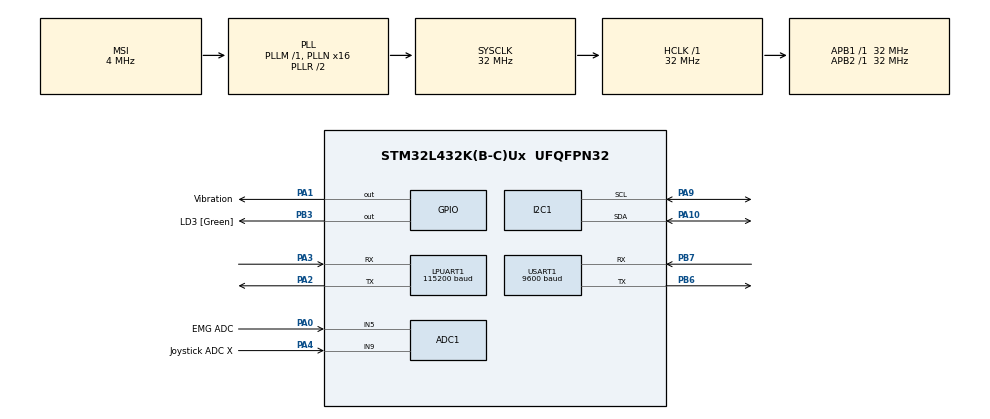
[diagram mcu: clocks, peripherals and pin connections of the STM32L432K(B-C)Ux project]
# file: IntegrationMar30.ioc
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ADC1.Channel-0\#ChannelRegularConversion=ADC_CHANNEL_5
ADC1.Channel-1\#ChannelRegularConversion=ADC_CHANNEL_9
ADC1.ClockPrescaler=ADC_CLOCK_ASYNC_DIV32
ADC1.ContinuousConvMode=DISABLE
ADC1.DMAContinuousRequests=ENABLE
ADC1.EnableInjectedConversion=DISABLE
ADC1.ExternalTrigConv=ADC_EXTERNALTRIG_T2_TRGO
ADC1.NbrOfConversion=2
ADC1.NbrOfConversionFlag=1
ADC1.OffsetNumber-0\#ChannelRegularConversion=ADC_OFFSET_NONE
ADC1.OffsetNumber-1\#ChannelRegularConversion=ADC_OFFSET_NONE
ADC1.Rank-0\#ChannelRegularConversion=1
ADC1.Rank-1\#ChannelRegularConversion=2
ADC1.SamplingTime-0\#ChannelRegularConversion=ADC_SAMPLETIME_640CYCLES_5
ADC1.SamplingTime-1\#ChannelRegularConversion=ADC_SAMPLETIME_640CYCLES_5
ADC1.master=1
Dma.ADC1.0.Direction=DMA_PERIPH_TO_MEMORY
Dma.ADC1.0.Instance=DMA1_Channel1
Dma.ADC1.0.MemDataAlignment=DMA_MDATAALIGN_HALFWORD
Dma.ADC1.0.MemInc=DMA_MINC_ENABLE
Dma.ADC1.0.Mode=DMA_CIRCULAR
Dma.ADC1.0.PeriphDataAlignment=DMA_PDATAALIGN_HALFWORD
Dma.ADC1.0.PeriphInc=DMA_PINC_DISABLE
Dma.ADC1.0.Priority=DMA_PRIORITY_LOW
Dma.Request0=ADC1
I2C1.Timing=0x00B07CB4
LPUART1.BaudRate=115200
LPUART1.WordLength=UART_WORDLENGTH_8B
Mcu.Family=STM32L4
Mcu.Name=STM32L432K(B-C)Ux
Mcu.Package=UFQFPN32
NVIC.DMA1_Channel1_IRQn=true\:0\:0\:false\:false\:true\:false\:true\:true
NVIC.PriorityGroup=NVIC_PRIORITYGROUP_4
NVIC.TIM6_DAC_IRQn=true\:0\:0\:false\:false\:true\:true\:true\:true
NVIC.USART1_IRQn=true\:0\:0\:false\:false\:true\:true\:true\:true
PA0.GPIO_Label=EMG ADC
PA0.Signal=ADCx_IN5
PA1.GPIO_Label=Vibration
PA1.Signal=GPIO_Output
PA10.Mode=I2C
PA10.Signal=I2C1_SDA
PA13\ (JTMS-SWDIO).GPIO_Label=SWDIO
PA13\ (JTMS-SWDIO).Signal=SYS_JTMS-SWDIO
PA14\ (JTCK-SWCLK).GPIO_Label=SWCLK
PA14\ (JTCK-SWCLK).Signal=SYS_JTCK-SWCLK
PA15\ (JTDI).GPIO_Label=VCP_RX
PA15\ (JTDI).Signal=USART2_RX
PA2.Mode=Asynchronous
PA2.Signal=LPUART1_TX
PA3.Mode=Asynchronous
PA3.Signal=LPUART1_RX
PA4.GPIO_Label=Joystick ADC X
PA4.Signal=ADCx_IN9
PA9.Mode=I2C
PA9.Signal=I2C1_SCL
PB3\ (JTDO-TRACESWO).GPIO_Label=LD3 [Green]
PB3\ (JTDO-TRACESWO).Signal=GPIO_Output
PB6.Mode=Asynchronous
PB6.Signal=USART1_TX
PB7.Mode=Asynchronous
PB7.Signal=USART1_RX
PC14-OSC32_IN\ (PC14).Signal=RCC_OSC32_IN
PC15-OSC32_OUT\ (PC15).Signal=RCC_OSC32_OUT
ProjectManager.HeapSize=0x200
ProjectManager.StackSize=0x400
ProjectManager.TargetToolchain=STM32CubeIDE
RCC.ADCFreq_Value=32000000
RCC.AHBFreq_Value=32000000
RCC.APB1Freq_Value=32000000
RCC.APB1TimFreq_Value=32000000
RCC.APB2Freq_Value=32000000
RCC.APB2TimFreq_Value=32000000
RCC.CortexFreq_Value=32000000
RCC.HCLKFreq_Value=32000000
RCC.HSE_VALUE=8000000
RCC.HSI16_VALUE=16000000
RCC.HSI48_VALUE=48000000
RCC.HSI_VALUE=16000000
RCC.LSE_VALUE=32768
RCC.MSI_VALUE=4000000
RCC.PLLMUL=RCC_PLLMUL_4
RCC.PLLN=16
RCC.PLLSAI1N=16
RCC.SYSCLKFreq_VALUE=32000000
RCC.SYSCLKSource=RCC_SYSCLKSOURCE_PLLCLK
RCC.USBFreq_Value=32000000
RCC.VCOOutputFreq_Value=64000000
SH.ADCx_IN5.0=ADC1_IN5,IN5-Single-Ended
SH.ADCx_IN9.0=ADC1_IN9,IN9-Single-Ended
TIM2.Period=999
TIM2.Prescaler=71
TIM2.TIM_MasterOutputTrigger=TIM_TRGO_UPDATE
TIM6.AutoReloadPreload=TIM_AUTORELOAD_PRELOAD_ENABLE
TIM6.Period=9999
TIM6.Prescaler=31
USART1.BaudRate=9600
USART1.VirtualMode-Asynchronous=VM_ASYNC
VP_TIM2_VS_ClockSourceINT.Mode=Internal
VP_TIM6_VS_ClockSourceINT.Mode=Enable_Timer
board=NUCLEO-L432KC

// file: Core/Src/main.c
/* USER CODE BEGIN Header */
/**
  ******************************************************************************
  * @file           : main.c
  * @brief          : Main program body
  ******************************************************************************
  * @attention
  *
  * Copyright (c) 2026 STMicroelectronics.
  * All rights reserved.
  *
  * This software is licensed under terms that can be found in the LICENSE file
  * in the root directory of this software component.
  * If no LICENSE file comes with this software, it is provided AS-IS.
  *
  ******************************************************************************
  */
/* USER CODE END Header */
#include "main.h"

/* USER CODE BEGIN Includes */
#include "stdio.h"
#include "punch.h"
#include "emg.h"
#include <string.h>
/* USER CODE END Includes */

/* USER CODE BEGIN PTD */
#define DEVICE_ADDR  0b010    // NOTE THIS IS PLACEHOLDER: P2_ARM_ADDR
#define MAINSTM_ADDR 0b100
#define START_BYTE   0xFF
/* USER CODE END PTD */

/* USER CODE BEGIN PD */
#define SAD_W_M   0x32
#define SAD_R_M   0x33
#define OUT_X_L_A 0b10101000
#define MOTOR_W   (0x5A << 1)
#define VIBRATION_DURATION_MS 200 // 200ms (half a second) is usually plenty for a hit!
/* USER CODE END PD */

ADC_HandleTypeDef hadc1;
DMA_HandleTypeDef hdma_adc1;

I2C_HandleTypeDef hi2c1;

UART_HandleTypeDef hlpuart1;
UART_HandleTypeDef huart1;

TIM_HandleTypeDef htim2;
TIM_HandleTypeDef htim6;

/* USER CODE BEGIN PV */
static PunchDetector pd;
static EmgDetector   ed;

uint8_t rx_buf[3]      = {};
uint8_t tx_buf[3]      = {};
uint8_t vibration      = 0;
uint8_t emg_ready      = 0;
uint8_t joystick_ready = 0;
uint8_t imu_ready      = 0;
uint8_t punch          = 0;
uint8_t joystick_val   = 0;
uint8_t emg_val        = 0;
uint32_t vibration_start_time = 0;
uint8_t  is_vibrating = 0;
volatile uint8_t packet_received = 0;
volatile uint8_t uart_tx_busy = 0;
volatile uint8_t tx_done_flag = 0;

static PunchDetector pd;
/* USER CODE END PV */

void SystemClock_Config(void);
static void MX_GPIO_Init(void);
static void MX_DMA_Init(void);
static void MX_ADC1_Init(void);
static void MX_I2C1_Init(void);
static void MX_LPUART1_UART_Init(void);
static void MX_TIM2_Init(void);
static void MX_USART1_UART_Init(void);
static void MX_TIM6_Init(void);

/* USER CODE BEGIN 0 */
uint32_t      joy_raw = 0;
GPIO_PinState jump    = 0;
int p1_move = 0;
int p2_move = 0;

/* USER CODE END 0 */

int main(void)
{

  /* USER CODE BEGIN 1 */
  uint8_t IMU_buf[8]; // [0-5]=XYZ data, [6]=reg addr, [7]=config byte
  IMU_buf[6] = (uint8_t)(OUT_X_L_A);
  /* USER CODE END 1 */

  /* MCU Configuration--------------------------------------------------------*/

  /* Reset of all peripherals, Initializes the Flash interface and the Systick. */
  HAL_Init();

  /* Configure the system clock */
  SystemClock_Config();

  /* Initialize all configured peripherals */
  MX_GPIO_Init();
  MX_DMA_Init();
  MX_ADC1_Init();
  MX_I2C1_Init();
  MX_LPUART1_UART_Init();
  MX_TIM2_Init();
  MX_USART1_UART_Init();
  MX_TIM6_Init();
  /* USER CODE BEGIN 2 */
  HAL_UART_Receive_IT(&huart1, rx_buf, 3);

  uint16_t adc_data[2];

  // ---- IMU init: CTRL_REG1_A — ODR 400 Hz, all axes on ----
  IMU_buf[6] = (uint8_t)(0x20);
  IMU_buf[7] = (uint8_t)(0b10010111);
  HAL_I2C_Master_Transmit(&hi2c1, SAD_W_M, &IMU_buf[6], 2, 1000);
  IMU_buf[6] = (uint8_t)(OUT_X_L_A);

  // ---- Vibration motor init ----
//  uint8_t vib_buf[4]  = {0x01, 0x00, 0x03, 0x01};
//  HAL_I2C_Master_Transmit(&hi2c1, MOTOR_W, vib_buf, 4, 1000);
//  uint8_t vib_buf1[4] = {0x04, 0x0E, 0x05, 0x00};
//  HAL_I2C_Master_Transmit(&hi2c1, MOTOR_W, vib_buf1, 4, 1000);

  // ---- ADC start ----
  HAL_ADCEx_Calibration_Start(&hadc1, ADC_SINGLE_ENDED);
  HAL_ADC_Start_DMA(&hadc1, (uint32_t *)adc_data, 2);
  HAL_TIM_Base_Start(&htim2);

  // ---- Punch detector baseline calibration (64 samples, hold still) ----
  printf("Calibrating IMU... hold still\r\n");
  {
      int32_t sx = 0, sy = 0, sz = 0;
      for (int i = 0; i < 64; i++) {
          HAL_I2C_Master_Transmit(&hi2c1, SAD_W_M, &IMU_buf[6], 1, 1000);
          HAL_I2C_Master_Receive (&hi2c1, SAD_R_M,  IMU_buf, 6, 1000);
          sx += (int16_t)((IMU_buf[1] << 8) | IMU_buf[0]);
          sy += (int16_t)((IMU_buf[3] << 8) | IMU_buf[2]);
          sz += (int16_t)((IMU_buf[5] << 8) | IMU_buf[4]);
          HAL_Delay(10);
      }
      float bx = ((float)sx / 64.0f) / IMU_SCALE;
      float by = ((float)sy / 64.0f) / IMU_SCALE;
      float bz = ((float)sz / 64.0f) / IMU_SCALE;
      printf("Baseline: %.3f  %.3f  %.3f g\r\n", bx, by, bz);
      punch_init(&pd, bx, by, bz);
  }

  emg_init(&ed);

  printf("Ready!\r\n");
  /* USER CODE END 2 */

  /* Infinite loop */
  while (1)
  {

    /* USER CODE BEGIN 3 */

	// XBee
	if(tx_done_flag){
		tx_done_flag = 0;
		//printf("P1_arm transmit complete\n");
	}

	if(packet_received){
		//printf("Receieved packet");
	    //this is for arm - legs don't need vibration
	    uint8_t local_copy[3];

	    __disable_irq();
	    memcpy(local_copy, rx_buf, 3);
	    packet_received = 0;
	    __enable_irq();

	    vibration = local_copy[2];

	    tx_buf[0] = START_BYTE;
	    //note this code is specialized for arm
	    tx_buf[1] = DEVICE_ADDR | (MAINSTM_ADDR << 3) | (punch << 6);
	    tx_buf[2] = joystick_val | (emg_val << 2);

	    if(!uart_tx_busy){
	    	//printf("P1_arm try to transmit");
	        uart_tx_busy = 1;
	        HAL_UART_Transmit_IT(&huart1, tx_buf, 3);
	        punch = 0;
	    }
	}

    emg_ready = 1;
    uint16_t curr_EMG  = adc_data[0];
    uint16_t curr_joyX = adc_data[1];
    uint32_t now = HAL_GetTick();
    //end of xbee stuff

    printf("EMG: %d  JoyX: %d\r\n", curr_EMG, curr_joyX);

    // emg_update runs state machine with miss counter — filters out brief dropouts
	// before setting the charging flag (see EMG_MISS_LIMIT in emg.h to tune tolerance)
	EmgResult emg_res = emg_update(&ed, curr_EMG, now);
	emg_val = (ed.state != EMG_STATE_IDLE) ? 1 : 0;

    // ---- Vibration ----
    //uint8_t vib_buf2[2] = {0x0C, 0x01};
    if (vibration) {
//        HAL_I2C_Master_Transmit(&hi2c1, MOTOR_W, vib_buf2, 2, 1000);
//        vibration = 0;
        HAL_GPIO_WritePin(GPIOA, GPIO_PIN_1, GPIO_PIN_SET); // Turn motor ON
		vibration_start_time = HAL_GetTick();               // Record the time
		is_vibrating = 1;
		vibration = 0;                                 // Clear the hit flag
    }

    // Check if it's time to turn the motor off
    if (is_vibrating && ((HAL_GetTick() - vibration_start_time) >= VIBRATION_DURATION_MS)) {
        HAL_GPIO_WritePin(GPIOA, GPIO_PIN_1, GPIO_PIN_RESET); // Turn motor OFF
        is_vibrating = 0;
    }

    // ---- IMU read ----
    HAL_I2C_Master_Transmit(&hi2c1, SAD_W_M, &IMU_buf[6], 1, 1000);
    HAL_I2C_Master_Receive (&hi2c1, SAD_R_M,  IMU_buf, 6, 1000);

    int16_t x = (int16_t)((IMU_buf[1] << 8) | IMU_buf[0]);
    int16_t y = (int16_t)((IMU_buf[3] << 8) | IMU_buf[2]);
    int16_t z = (int16_t)((IMU_buf[5] << 8) | IMU_buf[4]);

    printf("x=%d y=%d z=%d raw\r\n", x, y, z);

    // ---- Punch detection ----
    PunchResult res = punch_update(&pd, x, y, z, now);
    if (res.valid) {
        punch = 1;
        printf(">>> PUNCH! dmg=%.1f  peak=%.2fg\r\n", res.damage, res.peak_mag);
        emg_on_punch(&ed);   // reset charge after punch consumes it
    }
    imu_ready = 1;

    // ---- Joystick ----
    joy_raw = curr_joyX;
    //jump    = HAL_GPIO_ReadPin(GPIOA, GPIO_PIN_5);
    if      (joy_raw > 3000) { p1_move =  1; joystick_val = 1; }
    else if (joy_raw < 1925) { p1_move =  2; joystick_val = 2; }
    else                     { p1_move =  0; joystick_val = 0; }
    joystick_ready = 1;

    // ---- XBee TX ----
    /*
    if (emg_ready & joystick_ready & imu_ready) {
        tx_buf[0] = START_BYTE;
        tx_buf[1] = DEVICE_ADDR | (MAINSTM_ADDR << 3) | (punch << 6);
        tx_buf[2] = joystick_val | (emg_val << 2);
        HAL_UART_Transmit_IT(&huart1, tx_buf, 3);
        punch = 0;
    }
    */

    HAL_Delay(10);   // ~100 Hz loop rate
  }
  /* USER CODE END 3 */
}

void SystemClock_Config(void)
{
  RCC_OscInitTypeDef RCC_OscInitStruct = {0};
  RCC_ClkInitTypeDef RCC_ClkInitStruct = {0};

  /** Configure the main internal regulator output voltage
  */
  if (HAL_PWREx_ControlVoltageScaling(PWR_REGULATOR_VOLTAGE_SCALE1) != HAL_OK)
  {
    Error_Handler();
  }

  /** Initializes the RCC Oscillators according to the specified parameters
  * in the RCC_OscInitTypeDef structure.
  */
  RCC_OscInitStruct.OscillatorType = RCC_OSCILLATORTYPE_MSI;
  RCC_OscInitStruct.MSIState = RCC_MSI_ON;
  RCC_OscInitStruct.MSICalibrationValue = 0;
  RCC_OscInitStruct.MSIClockRange = RCC_MSIRANGE_6;
  RCC_OscInitStruct.PLL.PLLState = RCC_PLL_ON;
  RCC_OscInitStruct.PLL.PLLSource = RCC_PLLSOURCE_MSI;
  RCC_OscInitStruct.PLL.PLLM = 1;
  RCC_OscInitStruct.PLL.PLLN = 16;
  RCC_OscInitStruct.PLL.PLLP = RCC_PLLP_DIV7;
  RCC_OscInitStruct.PLL.PLLQ = RCC_PLLQ_DIV2;
  RCC_OscInitStruct.PLL.PLLR = RCC_PLLR_DIV2;
  if (HAL_RCC_OscConfig(&RCC_OscInitStruct) != HAL_OK)
  {
    Error_Handler();
  }

  /** Initializes the CPU, AHB and APB buses clocks
  */
  RCC_ClkInitStruct.ClockType = RCC_CLOCKTYPE_HCLK|RCC_CLOCKTYPE_SYSCLK
                              |RCC_CLOCKTYPE_PCLK1|RCC_CLOCKTYPE_PCLK2;
  RCC_ClkInitStruct.SYSCLKSource = RCC_SYSCLKSOURCE_PLLCLK;
  RCC_ClkInitStruct.AHBCLKDivider = RCC_SYSCLK_DIV1;
  RCC_ClkInitStruct.APB1CLKDivider = RCC_HCLK_DIV1;
  RCC_ClkInitStruct.APB2CLKDivider = RCC_HCLK_DIV1;

  if (HAL_RCC_ClockConfig(&RCC_ClkInitStruct, FLASH_LATENCY_1) != HAL_OK)
  {
    Error_Handler();
  }
}

static void MX_ADC1_Init(void)
{

  ADC_ChannelConfTypeDef sConfig = {0};

  /** Common config
  */
  hadc1.Instance = ADC1;
  hadc1.Init.ClockPrescaler = ADC_CLOCK_ASYNC_DIV32;
  hadc1.Init.Resolution = ADC_RESOLUTION_12B;
  hadc1.Init.DataAlign = ADC_DATAALIGN_RIGHT;
  hadc1.Init.ScanConvMode = ADC_SCAN_ENABLE;
  hadc1.Init.EOCSelection = ADC_EOC_SINGLE_CONV;
  hadc1.Init.LowPowerAutoWait = DISABLE;
  hadc1.Init.ContinuousConvMode = DISABLE;
  hadc1.Init.NbrOfConversion = 2;
  hadc1.Init.DiscontinuousConvMode = DISABLE;
  hadc1.Init.ExternalTrigConv = ADC_EXTERNALTRIG_T2_TRGO;
  hadc1.Init.ExternalTrigConvEdge = ADC_EXTERNALTRIGCONVEDGE_RISING;
  hadc1.Init.DMAContinuousRequests = ENABLE;
  hadc1.Init.Overrun = ADC_OVR_DATA_PRESERVED;
  hadc1.Init.OversamplingMode = DISABLE;
  if (HAL_ADC_Init(&hadc1) != HAL_OK)
  {
    Error_Handler();
  }

  /** Configure Regular Channel
  */
  sConfig.Channel = ADC_CHANNEL_5;
  sConfig.Rank = ADC_REGULAR_RANK_1;
  sConfig.SamplingTime = ADC_SAMPLETIME_640CYCLES_5;
  sConfig.SingleDiff = ADC_SINGLE_ENDED;
  sConfig.OffsetNumber = ADC_OFFSET_NONE;
  sConfig.Offset = 0;
  if (HAL_ADC_ConfigChannel(&hadc1, &sConfig) != HAL_OK)
  {
    Error_Handler();
  }

  /** Configure Regular Channel
  */
  sConfig.Channel = ADC_CHANNEL_9;
  sConfig.Rank = ADC_REGULAR_RANK_2;
  if (HAL_ADC_ConfigChannel(&hadc1, &sConfig) != HAL_OK)
  {
    Error_Handler();
  }

}

static void MX_I2C1_Init(void)
{

  hi2c1.Instance = I2C1;
  hi2c1.Init.Timing = 0x00B07CB4;
  hi2c1.Init.OwnAddress1 = 0;
  hi2c1.Init.AddressingMode = I2C_ADDRESSINGMODE_7BIT;
  hi2c1.Init.DualAddressMode = I2C_DUALADDRESS_DISABLE;
  hi2c1.Init.OwnAddress2 = 0;
  hi2c1.Init.OwnAddress2Masks = I2C_OA2_NOMASK;
  hi2c1.Init.GeneralCallMode = I2C_GENERALCALL_DISABLE;
  hi2c1.Init.NoStretchMode = I2C_NOSTRETCH_DISABLE;
  if (HAL_I2C_Init(&hi2c1) != HAL_OK)
  {
    Error_Handler();
  }

  /** Configure Analogue filter
  */
  if (HAL_I2CEx_ConfigAnalogFilter(&hi2c1, I2C_ANALOGFILTER_ENABLE) != HAL_OK)
  {
    Error_Handler();
  }

  /** Configure Digital filter
  */
  if (HAL_I2CEx_ConfigDigitalFilter(&hi2c1, 0) != HAL_OK)
  {
    Error_Handler();
  }

}

static void MX_LPUART1_UART_Init(void)
{

  hlpuart1.Instance = LPUART1;
  hlpuart1.Init.BaudRate = 115200;
  hlpuart1.Init.WordLength = UART_WORDLENGTH_8B;
  hlpuart1.Init.StopBits = UART_STOPBITS_1;
  hlpuart1.Init.Parity = UART_PARITY_NONE;
  hlpuart1.Init.Mode = UART_MODE_TX_RX;
  hlpuart1.Init.HwFlowCtl = UART_HWCONTROL_NONE;
  hlpuart1.Init.OneBitSampling = UART_ONE_BIT_SAMPLE_DISABLE;
  hlpuart1.AdvancedInit.AdvFeatureInit = UART_ADVFEATURE_NO_INIT;
  if (HAL_UART_Init(&hlpuart1) != HAL_OK)
  {
    Error_Handler();
  }

}

static void MX_USART1_UART_Init(void)
{

  huart1.Instance = USART1;
  huart1.Init.BaudRate = 9600;
  huart1.Init.WordLength = UART_WORDLENGTH_8B;
  huart1.Init.StopBits = UART_STOPBITS_1;
  huart1.Init.Parity = UART_PARITY_NONE;
  huart1.Init.Mode = UART_MODE_TX_RX;
  huart1.Init.HwFlowCtl = UART_HWCONTROL_NONE;
  huart1.Init.OverSampling = UART_OVERSAMPLING_16;
  huart1.Init.OneBitSampling = UART_ONE_BIT_SAMPLE_DISABLE;
  huart1.AdvancedInit.AdvFeatureInit = UART_ADVFEATURE_NO_INIT;
  if (HAL_UART_Init(&huart1) != HAL_OK)
  {
    Error_Handler();
  }

}

static void MX_TIM2_Init(void)
{

  TIM_ClockConfigTypeDef sClockSourceConfig = {0};
  TIM_MasterConfigTypeDef sMasterConfig = {0};

  htim2.Instance = TIM2;
  htim2.Init.Prescaler = 71;
  htim2.Init.CounterMode = TIM_COUNTERMODE_UP;
  htim2.Init.Period = 999;
  htim2.Init.ClockDivision = TIM_CLOCKDIVISION_DIV1;
  htim2.Init.AutoReloadPreload = TIM_AUTORELOAD_PRELOAD_DISABLE;
  if (HAL_TIM_Base_Init(&htim2) != HAL_OK)
  {
    Error_Handler();
  }
  sClockSourceConfig.ClockSource = TIM_CLOCKSOURCE_INTERNAL;
  if (HAL_TIM_ConfigClockSource(&htim2, &sClockSourceConfig) != HAL_OK)
  {
    Error_Handler();
  }
  sMasterConfig.MasterOutputTrigger = TIM_TRGO_UPDATE;
  sMasterConfig.MasterSlaveMode = TIM_MASTERSLAVEMODE_DISABLE;
  if (HAL_TIMEx_MasterConfigSynchronization(&htim2, &sMasterConfig) != HAL_OK)
  {
    Error_Handler();
  }

}

static void MX_TIM6_Init(void)
{

  TIM_MasterConfigTypeDef sMasterConfig = {0};

  htim6.Instance = TIM6;
  htim6.Init.Prescaler = 31;
  htim6.Init.CounterMode = TIM_COUNTERMODE_UP;
  htim6.Init.Period = 9999;
  htim6.Init.AutoReloadPreload = TIM_AUTORELOAD_PRELOAD_ENABLE;
  if (HAL_TIM_Base_Init(&htim6) != HAL_OK)
  {
    Error_Handler();
  }
  sMasterConfig.MasterOutputTrigger = TIM_TRGO_RESET;
  sMasterConfig.MasterSlaveMode = TIM_MASTERSLAVEMODE_DISABLE;
  if (HAL_TIMEx_MasterConfigSynchronization(&htim6, &sMasterConfig) != HAL_OK)
  {
    Error_Handler();
  }

}

static void MX_DMA_Init(void)
{

  /* DMA controller clock enable */
  __HAL_RCC_DMA1_CLK_ENABLE();

  /* DMA interrupt init */
  /* DMA1_Channel1_IRQn interrupt configuration */
  HAL_NVIC_SetPriority(DMA1_Channel1_IRQn, 0, 0);
  HAL_NVIC_EnableIRQ(DMA1_Channel1_IRQn);

}

static void MX_GPIO_Init(void)
{
  GPIO_InitTypeDef GPIO_InitStruct = {0};

  /* GPIO Ports Clock Enable */
  __HAL_RCC_GPIOC_CLK_ENABLE();
  __HAL_RCC_GPIOA_CLK_ENABLE();
  __HAL_RCC_GPIOB_CLK_ENABLE();

  /*Configure GPIO pin Output Level */
  HAL_GPIO_WritePin(Vibration_GPIO_Port, Vibration_Pin, GPIO_PIN_RESET);

  /*Configure GPIO pin Output Level */
  HAL_GPIO_WritePin(LD3_GPIO_Port, LD3_Pin, GPIO_PIN_RESET);

  /*Configure GPIO pin : Vibration_Pin */
  GPIO_InitStruct.Pin = Vibration_Pin;
  GPIO_InitStruct.Mode = GPIO_MODE_OUTPUT_PP;
  GPIO_InitStruct.Pull = GPIO_NOPULL;
  GPIO_InitStruct.Speed = GPIO_SPEED_FREQ_LOW;
  HAL_GPIO_Init(Vibration_GPIO_Port, &GPIO_InitStruct);

  /*Configure GPIO pin : VCP_RX_Pin */
  GPIO_InitStruct.Pin = VCP_RX_Pin;
  GPIO_InitStruct.Mode = GPIO_MODE_AF_PP;
  GPIO_InitStruct.Pull = GPIO_NOPULL;
  GPIO_InitStruct.Speed = GPIO_SPEED_FREQ_VERY_HIGH;
  GPIO_InitStruct.Alternate = GPIO_AF3_USART2;
  HAL_GPIO_Init(VCP_RX_GPIO_Port, &GPIO_InitStruct);

  /*Configure GPIO pin : LD3_Pin */
  GPIO_InitStruct.Pin = LD3_Pin;
  GPIO_InitStruct.Mode = GPIO_MODE_OUTPUT_PP;
  GPIO_InitStruct.Pull = GPIO_NOPULL;
  GPIO_InitStruct.Speed = GPIO_SPEED_FREQ_LOW;
  HAL_GPIO_Init(LD3_GPIO_Port, &GPIO_InitStruct);

}

/* USER CODE BEGIN 4 */
void HAL_UART_RxCpltCallback(UART_HandleTypeDef *huart)
{
	if ((rx_buf[0] == START_BYTE) && (((rx_buf[1] & 0x38) >> 3) == DEVICE_ADDR) && ((rx_buf[1] & 0x07) == MAINSTM_ADDR)) {
	      packet_received = 1;
	 }

	 // Restart interrupt reception
	 HAL_UART_Receive_IT(&huart1, rx_buf, 3);
	//printf("rearm\r\n");
}

void HAL_UART_TxCpltCallback(UART_HandleTypeDef *huart)
{
	if (huart->Instance == USART1)
	    {
	        //printf("P1_arm transmit complete\n");
	        uart_tx_busy = 0;
	        tx_done_flag = 1;
	    }
}

#ifdef __GNUC__
#define PUTCHAR_PROTOTYPE int __io_putchar(int ch)
#else
#define PUTCHAR_PROTOTYPE int fputc(int ch, FILE *f)
#endif
PUTCHAR_PROTOTYPE
{
  HAL_UART_Transmit(&hlpuart1, (uint8_t *)&ch, 1, 0xFFFF);
  return ch;
}
/* USER CODE END 4 */

void Error_Handler(void)
{
  __disable_irq();
  while (1)
  {
  }
}
